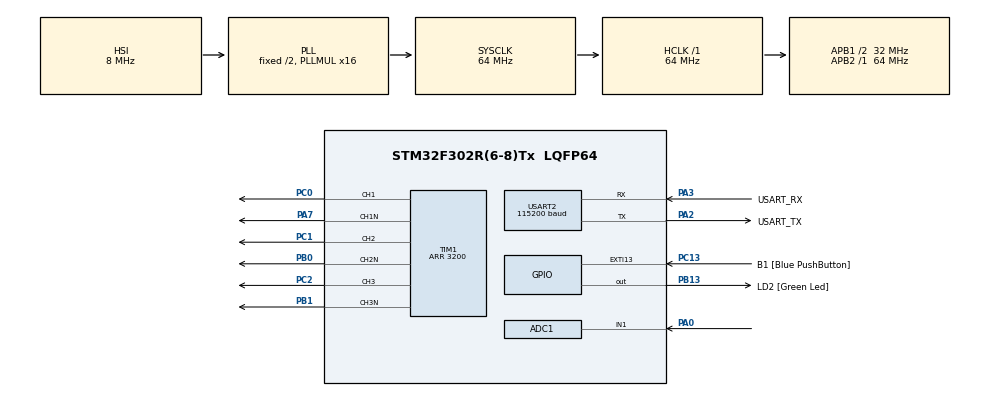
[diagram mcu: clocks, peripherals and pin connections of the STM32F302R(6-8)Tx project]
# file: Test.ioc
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ADC1.Channel-0\#ChannelRegularConversion=ADC_CHANNEL_1
ADC1.ClockPrescaler=ADC_CLOCK_ASYNC_DIV1
ADC1.ContinuousConvMode=ENABLE
ADC1.DMAContinuousRequests=DISABLE
ADC1.DataAlign=ADC_DATAALIGN_RIGHT
ADC1.DiscontinuousConvMode=DISABLE
ADC1.EOCSelection=ADC_EOC_SINGLE_CONV
ADC1.EnableAnalogWatchDog1=false
ADC1.EnableAnalogWatchDog2=false
ADC1.EnableAnalogWatchDog3=false
ADC1.EnableInjectedConversion=ENABLE
ADC1.EnableRegularConversion=ENABLE
ADC1.ExternalTrigConv=ADC_SOFTWARE_START
ADC1.ExternalTrigConvEdge=ADC_EXTERNALTRIGCONVEDGE_NONE
ADC1.InjNumberOfConversion=0
ADC1.LowPowerAutoWait=DISABLE
ADC1.NbrOfConversion=1
ADC1.NbrOfConversionFlag=1
ADC1.Offset-0\#ChannelRegularConversion=0
ADC1.OffsetNumber-0\#ChannelRegularConversion=ADC_OFFSET_NONE
ADC1.Overrun=ADC_OVR_DATA_OVERWRITTEN
ADC1.Rank-0\#ChannelRegularConversion=1
ADC1.Resolution=ADC_RESOLUTION_12B
ADC1.SamplingTime-0\#ChannelRegularConversion=ADC_SAMPLETIME_1CYCLE_5
ADC1.ScanConvMode=ADC_SCAN_DISABLE
ADC1.SubFamily=STM32F302x8
ADC1.master=1
Mcu.Family=STM32F3
Mcu.Name=STM32F302R(6-8)Tx
Mcu.Package=LQFP64
NVIC.PriorityGroup=NVIC_PRIORITYGROUP_0
PA0.Mode=IN1-Single-Ended
PA0.Signal=ADC1_IN1
PA13.GPIO_Label=TMS
PA13.Mode=Trace_Asynchronous_SW
PA13.Signal=SYS_JTMS-SWDIO
PA14.GPIO_Label=TCK
PA14.Mode=Trace_Asynchronous_SW
PA14.Signal=SYS_JTCK-SWCLK
PA2.GPIO_Label=USART_TX
PA2.GPIO_Mode=GPIO_MODE_AF_PP
PA2.GPIO_PuPd=GPIO_NOPULL
PA2.GPIO_Speed=GPIO_SPEED_FREQ_LOW
PA2.Mode=Asynchronous
PA2.Signal=USART2_TX
PA3.GPIO_Label=USART_RX
PA3.GPIO_Mode=GPIO_MODE_AF_PP
PA3.GPIO_PuPd=GPIO_NOPULL
PA3.GPIO_Speed=GPIO_SPEED_FREQ_LOW
PA3.Mode=Asynchronous
PA3.Signal=USART2_RX
PA7.Mode=PWM Generation1 CH1 CH1N
PA7.Signal=TIM1_CH1N
PB0.Mode=PWM Generation2 CH2 CH2N
PB0.Signal=TIM1_CH2N
PB1.Mode=PWM Generation3 CH3 CH3N
PB1.Signal=TIM1_CH3N
PB13.GPIO_Label=LD2 [Green Led]
PB13.Signal=GPIO_Output
PB3.GPIO_Label=SWO
PB3.Mode=Trace_Asynchronous_SW
PB3.Signal=SYS_JTDO-TRACESWO
PC0.Signal=S_TIM1_CH1
PC1.Signal=S_TIM1_CH2
PC13.GPIO_Label=B1 [Blue PushButton]
PC13.GPIO_ModeDefaultEXTI=GPIO_MODE_IT_FALLING
PC13.Signal=GPXTI13
PC14\ -\ OSC32_IN.Signal=RCC_OSC32_IN
PC15\ -\ OSC32_OUT.Signal=RCC_OSC32_OUT
PC2.Signal=S_TIM1_CH3
PF0-OSC_IN.Mode=HSE-External-Clock-Source
PF0-OSC_IN.Signal=RCC_OSC_IN
PF1-OSC_OUT.Signal=RCC_OSC_OUT
ProjectManager.HeapSize=0x200
ProjectManager.StackSize=0x400
ProjectManager.TargetToolchain=SW4STM32
RCC.AHBFreq_Value=64000000
RCC.APB1CLKDivider=RCC_HCLK_DIV2
RCC.APB1Freq_Value=32000000
RCC.APB1TimFreq_Value=64000000
RCC.APB2Freq_Value=64000000
RCC.APB2TimFreq_Value=64000000
RCC.CortexFreq_Value=64000000
RCC.HCLKFreq_Value=64000000
RCC.HSE_VALUE=8000000
RCC.HSI_VALUE=8000000
RCC.LSE_VALUE=32768
RCC.PLLM=8
RCC.PLLMUL=RCC_PLL_MUL16
RCC.PLLN=336
RCC.PLLP=RCC_PLLP_DIV4
RCC.PLLQ=7
RCC.RCC_PLLsource_Clock_Source_FROM_HSE=RCC_HSE_PREDIV_DIV2
RCC.SYSCLKFreq_VALUE=64000000
RCC.SYSCLKSourceVirtual=RCC_SYSCLKSOURCE_PLLCLK
RCC.USBFreq_Value=64000000
SH.S_TIM1_CH1.0=TIM1_CH1,PWM Generation1 CH1 CH1N
SH.S_TIM1_CH2.0=TIM1_CH2,PWM Generation2 CH2 CH2N
SH.S_TIM1_CH3.0=TIM1_CH3,PWM Generation3 CH3 CH3N
TIM1.AutoReloadPreload=TIM_AUTORELOAD_PRELOAD_ENABLE
TIM1.Channel-PWM\ Generation2\ CH2\ CH2N=TIM_CHANNEL_2
TIM1.Channel-PWM\ Generation3\ CH3\ CH3N=TIM_CHANNEL_3
TIM1.CounterMode=TIM_COUNTERMODE_CENTERALIGNED1
TIM1.DeadTime=10
TIM1.OCFastMode_PWM-PWM\ Generation1\ CH1\ CH1N=TIM_OCFAST_ENABLE
TIM1.OCIdleState_1=TIM_OCIDLESTATE_SET
TIM1.OCIdleState_2=TIM_OCIDLESTATE_SET
TIM1.OCIdleState_3=TIM_OCIDLESTATE_SET
TIM1.OCNIdleState_1=TIM_OCNIDLESTATE_SET
TIM1.OCNIdleState_2=TIM_OCNIDLESTATE_SET
TIM1.OCNIdleState_3=TIM_OCNIDLESTATE_SET
TIM1.OCNPolarity_1=TIM_OCNPOLARITY_HIGH
TIM1.Period=3200
TIM1.Pulse-PWM\ Generation1\ CH1\ CH1N=2000
TIM1.Pulse-PWM\ Generation2\ CH2\ CH2N=1500
TIM1.Pulse-PWM\ Generation3\ CH3\ CH3N=400
USART2.BaudRate=115200
USART2.WordLength=UART_WORDLENGTH_8B
VP_TIM1_VS_ClockSourceINT.Mode=Internal
board=NUCLEO-F302R8

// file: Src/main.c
/**
  ******************************************************************************
  * File Name          : main.c
  * Description        : Main program body
  ******************************************************************************
  *
  * COPYRIGHT(c) 2017 STMicroelectronics
  *
  * Redistribution and use in source and binary forms, with or without modification,
  * are permitted provided that the following conditions are met:
  *   1. Redistributions of source code must retain the above copyright notice,
  *      this list of conditions and the following disclaimer.
  *   2. Redistributions in binary form must reproduce the above copyright notice,
  *      this list of conditions and the following disclaimer in the documentation
  *      and/or other materials provided with the distribution.
  *   3. Neither the name of STMicroelectronics nor the names of its contributors
  *      may be used to endorse or promote products derived from this software
  *      without specific prior written permission.
  *
  * THIS SOFTWARE IS PROVIDED BY THE COPYRIGHT HOLDERS AND CONTRIBUTORS "AS IS"
  * AND ANY EXPRESS OR IMPLIED WARRANTIES, INCLUDING, BUT NOT LIMITED TO, THE
  * IMPLIED WARRANTIES OF MERCHANTABILITY AND FITNESS FOR A PARTICULAR PURPOSE ARE
  * DISCLAIMED. IN NO EVENT SHALL THE COPYRIGHT HOLDER OR CONTRIBUTORS BE LIABLE
  * FOR ANY DIRECT, INDIRECT, INCIDENTAL, SPECIAL, EXEMPLARY, OR CONSEQUENTIAL
  * DAMAGES (INCLUDING, BUT NOT LIMITED TO, PROCUREMENT OF SUBSTITUTE GOODS OR
  * SERVICES; LOSS OF USE, DATA, OR PROFITS; OR BUSINESS INTERRUPTION) HOWEVER
  * CAUSED AND ON ANY THEORY OF LIABILITY, WHETHER IN CONTRACT, STRICT LIABILITY,
  * OR TORT (INCLUDING NEGLIGENCE OR OTHERWISE) ARISING IN ANY WAY OUT OF THE USE
  * OF THIS SOFTWARE, EVEN IF ADVISED OF THE POSSIBILITY OF SUCH DAMAGE.
  *
  ******************************************************************************
  */
#include "main.h"
#include "stm32f3xx_hal.h"

#include <math.h>
#include "arm_math.h"

ADC_HandleTypeDef hadc1;

TIM_HandleTypeDef htim1;

UART_HandleTypeDef huart2;

/* USER CODE BEGIN PV */
/* Private variables ---------------------------------------------------------*/
/* ----------------------------------------------------------------------
* Defines each of the tests performed
* ------------------------------------------------------------------- */
#define MAX_BLOCKSIZE   32
#define DELTA           (0.000001f)

/* ----------------------------------------------------------------------
* Declare I/O buffers
* ------------------------------------------------------------------- */
float32_t wire1[MAX_BLOCKSIZE];
float32_t wire2[MAX_BLOCKSIZE];
float32_t wire3[MAX_BLOCKSIZE];

/* ----------------------------------------------------------------------
* Test input data for Floating point Variance example for 32-blockSize
* Generated by the MATLAB randn() function
* ------------------------------------------------------------------- */

float32_t testInput_f32[32] =
{
  -0.432564811528221,  -1.665584378238097,   0.125332306474831,   0.287676420358549,
  -1.146471350681464,   1.190915465642999,   1.189164201652103,  -0.037633276593318,
   0.327292361408654,   0.174639142820925,  -0.186708577681439,   0.725790548293303,
  -0.588316543014189,   2.183185818197101,  -0.136395883086596,   0.113931313520810,
   1.066768211359189,   0.059281460523605,  -0.095648405483669,  -0.832349463650022,
   0.294410816392640,  -1.336181857937804,   0.714324551818952,   1.623562064446271,
  -0.691775701702287,   0.857996672828263,   1.254001421602532,  -1.593729576447477,
  -1.440964431901020,   0.571147623658178,  -0.399885577715363,   0.689997375464345

};

/* ----------------------------------------------------------------------
* Declare Global variables
* ------------------------------------------------------------------- */
uint32_t blockSize = 32;
float32_t  refVarianceOut = 0.903941793931839;

/* USER CODE END PV */

void SystemClock_Config(void);
void Error_Handler(void);
static void MX_GPIO_Init(void);
static void MX_USART2_UART_Init(void);
static void MX_TIM1_Init(void);
static void MX_ADC1_Init(void);

void HAL_TIM_MspPostInit(TIM_HandleTypeDef *htim);

/* USER CODE BEGIN PFP */
/* Private function prototypes -----------------------------------------------*/
static void buffer_append_uint32(uint8_t* buffer, uint32_t number, int32_t *index);
static void buffer_append_uint16(uint8_t* buffer, uint16_t number, int32_t *index);
/* USER CODE END PFP */

int main(void)
{

  /* USER CODE BEGIN 1 */
  uint32_t ADCValue = 0;
  uint8_t send_buffer[10];
  int32_t ind = 0;
  uint32_t width = 0;

  arm_status status;
  float32_t mean, oneByBlockSize;
  float32_t variance;
  float32_t diff;

  /* USER CODE END 1 */

  /* MCU Configuration----------------------------------------------------------*/

  /* Reset of all peripherals, Initializes the Flash interface and the Systick. */
  HAL_Init();

  /* Configure the system clock */
  SystemClock_Config();

  /* Initialize all configured peripherals */
  MX_GPIO_Init();
  MX_USART2_UART_Init();
  MX_TIM1_Init();
  MX_ADC1_Init();

  /* USER CODE BEGIN 2 */
  //HAL_TIM_PWM_Start(&htim1,TIM_CHANNEL_ALL);
   /* Start Timers*/
  if (HAL_TIM_PWM_Start(&htim1, TIM_CHANNEL_1) != HAL_OK)
  {
    /* PWM Generation Error */
    Error_Handler();
  }
    if (HAL_TIMEx_PWMN_Start(&htim1, TIM_CHANNEL_1) != HAL_OK)
  {
    /* PWM Generation Error */
    Error_Handler();
  }

   if (HAL_TIM_PWM_Start(&htim1, TIM_CHANNEL_2) != HAL_OK)
  {
    /* PWM Generation Error */
    Error_Handler();
  }
    if (HAL_TIMEx_PWMN_Start(&htim1, TIM_CHANNEL_2) != HAL_OK)
  {
    /* PWM Generation Error */
    Error_Handler();
  }

   if (HAL_TIM_PWM_Start(&htim1, TIM_CHANNEL_3) != HAL_OK)
  {
    /* PWM Generation Error */
    Error_Handler();
  }
    if (HAL_TIMEx_PWMN_Start(&htim1, TIM_CHANNEL_3) != HAL_OK)
  {
    /* PWM Generation Error */
    Error_Handler();
  }

  //HAL_ADC_Start(&hadc1);

  /* USER CODE END 2 */

  /* Infinite loop */
  while (1)
  {

  /* USER CODE BEGIN 3 */

  HAL_ADC_Start(&hadc1);
  //Read ADC
  if (HAL_ADC_PollForConversion(&hadc1, 1000000) == HAL_OK)
  {
	  ADCValue = HAL_ADC_GetValue(&hadc1);
  }

  //update duty cycle
  __HAL_TIM_SET_COMPARE(&htim1, TIM_CHANNEL_1, width);

  if (width > 3200)
  {
	  width = 0;
  }
  else
  {
	  width++;
  }

  //DSP VARIANCE EXAMPLE F32
  //set LED  HIGH
  HAL_GPIO_WritePin(LD2_GPIO_Port, LD2_Pin, GPIO_PIN_SET);

  status = ARM_MATH_SUCCESS;

  /* Calculation of mean value of input */

  /* x' = 1/blockSize * (x(0)* 1 + x(1) * 1 + ... + x(n-1) * 1) */

  /* Fill wire1 buffer with 1.0 value */
  arm_fill_f32(1.0,  wire1, blockSize);

  /* Calculate the dot product of wire1 and wire2 */
  /* (x(0)* 1 + x(1) * 1 + ...+ x(n-1) * 1) */
  arm_dot_prod_f32(testInput_f32, wire1, blockSize, &mean);

  /* Calculation of 1/blockSize */
  oneByBlockSize = 1.0 / (blockSize);

  /* 1/blockSize * (x(0)* 1 + x(1) * 1 + ... + x(n-1) * 1)  */
  arm_mult_f32(&mean, &oneByBlockSize, &mean, 1);

  /* Calculation of variance value of input */

  /* (1/blockSize) * (x(0) - x') * (x(0) - x') + (x(1) - x') * (x(1) - x') + ... + (x(n-1) - x') * (x(n-1) - x') */

  /* Fill wire2 with mean value x' */
  arm_fill_f32(mean,  wire2, blockSize);

  /* wire3 contains (x-x') */
  arm_sub_f32(testInput_f32, wire2, wire3, blockSize);

  /* wire2 contains (x-x') */
  arm_copy_f32(wire3, wire2, blockSize);

  /* (x(0) - x') * (x(0) - x') + (x(1) - x') * (x(1) - x') + ... + (x(n-1) - x') * (x(n-1) - x') */
  arm_dot_prod_f32(wire2, wire3, blockSize, &variance);

    /* Calculation of 1/blockSize */
  oneByBlockSize = 1.0 / (blockSize - 1);

  /* Calculation of variance */
  arm_mult_f32(&variance, &oneByBlockSize, &variance, 1);

  /* absolute value of difference between ref and test */
  diff = fabsf(refVarianceOut - variance);

  /* Comparison of variance value with reference */
  if(diff > DELTA)
  {
    status = ARM_MATH_TEST_FAILURE;
  }

  if( status != ARM_MATH_SUCCESS)
  {
    while(1);
  }
  //set LED  LOW
  HAL_GPIO_WritePin(LD2_GPIO_Port, LD2_Pin, GPIO_PIN_RESET);

  //Transmit ADC value
  ind = 0;
  buffer_append_uint16(send_buffer, (uint16_t)ADCValue, &ind);
  HAL_UART_Transmit(&huart2, (uint8_t*)send_buffer, sizeof(uint16_t), 0xFFFF);
  HAL_Delay(1);
  /* USER CODE END 3 */

}
}
/** System Clock Configuration
*/
void SystemClock_Config(void)
{

  RCC_OscInitTypeDef RCC_OscInitStruct;
  RCC_ClkInitTypeDef RCC_ClkInitStruct;
  RCC_PeriphCLKInitTypeDef PeriphClkInit;

    /**Initializes the CPU, AHB and APB busses clocks
    */
  RCC_OscInitStruct.OscillatorType = RCC_OSCILLATORTYPE_HSI;
  RCC_OscInitStruct.HSIState = RCC_HSI_ON;
  RCC_OscInitStruct.HSICalibrationValue = 16;
  RCC_OscInitStruct.PLL.PLLState = RCC_PLL_ON;
  RCC_OscInitStruct.PLL.PLLSource = RCC_PLLSOURCE_HSI;
  RCC_OscInitStruct.PLL.PLLMUL = RCC_PLL_MUL16;
  if (HAL_RCC_OscConfig(&RCC_OscInitStruct) != HAL_OK)
  {
    Error_Handler();
  }

    /**Initializes the CPU, AHB and APB busses clocks
    */
  RCC_ClkInitStruct.ClockType = RCC_CLOCKTYPE_HCLK|RCC_CLOCKTYPE_SYSCLK
                              |RCC_CLOCKTYPE_PCLK1|RCC_CLOCKTYPE_PCLK2;
  RCC_ClkInitStruct.SYSCLKSource = RCC_SYSCLKSOURCE_PLLCLK;
  RCC_ClkInitStruct.AHBCLKDivider = RCC_SYSCLK_DIV1;
  RCC_ClkInitStruct.APB1CLKDivider = RCC_HCLK_DIV2;
  RCC_ClkInitStruct.APB2CLKDivider = RCC_HCLK_DIV1;

  if (HAL_RCC_ClockConfig(&RCC_ClkInitStruct, FLASH_LATENCY_2) != HAL_OK)
  {
    Error_Handler();
  }

  PeriphClkInit.PeriphClockSelection = RCC_PERIPHCLK_TIM1|RCC_PERIPHCLK_ADC1;
  PeriphClkInit.Tim1ClockSelection = RCC_TIM1CLK_HCLK;
  PeriphClkInit.Adc1ClockSelection = RCC_ADC1PLLCLK_DIV1;

  if (HAL_RCCEx_PeriphCLKConfig(&PeriphClkInit) != HAL_OK)
  {
    Error_Handler();
  }

    /**Configure the Systick interrupt time
    */
  HAL_SYSTICK_Config(HAL_RCC_GetHCLKFreq()/1000);

    /**Configure the Systick
    */
  HAL_SYSTICK_CLKSourceConfig(SYSTICK_CLKSOURCE_HCLK);

  /* SysTick_IRQn interrupt configuration */
  HAL_NVIC_SetPriority(SysTick_IRQn, 0, 0);
}

/* ADC1 init function */
static void MX_ADC1_Init(void)
{

  ADC_ChannelConfTypeDef sConfig;

    /**Common config
    */
  hadc1.Instance = ADC1;
  hadc1.Init.ClockPrescaler = ADC_CLOCK_ASYNC_DIV1;
  hadc1.Init.Resolution = ADC_RESOLUTION_12B;
  hadc1.Init.ScanConvMode = ADC_SCAN_DISABLE;
  hadc1.Init.ContinuousConvMode = DISABLE;
  hadc1.Init.DiscontinuousConvMode = DISABLE;
  hadc1.Init.ExternalTrigConvEdge = ADC_EXTERNALTRIGCONVEDGE_NONE;
  hadc1.Init.ExternalTrigConv = ADC_SOFTWARE_START;
  hadc1.Init.DataAlign = ADC_DATAALIGN_RIGHT;
  hadc1.Init.NbrOfConversion = 1;
  hadc1.Init.DMAContinuousRequests = DISABLE;
  hadc1.Init.EOCSelection = ADC_EOC_SINGLE_CONV;
  hadc1.Init.LowPowerAutoWait = DISABLE;
  hadc1.Init.Overrun = ADC_OVR_DATA_OVERWRITTEN;
  if (HAL_ADC_Init(&hadc1) != HAL_OK)
  {
    Error_Handler();
  }

    /**Configure Regular Channel
    */
  sConfig.Channel = ADC_CHANNEL_1;
  sConfig.Rank = 1;
  sConfig.SingleDiff = ADC_SINGLE_ENDED;
  //sConfig.SamplingTime = ADC_SAMPLETIME_1CYCLE_5;
  sConfig.SamplingTime = ADC_SAMPLETIME_601CYCLES_5;
  sConfig.OffsetNumber = ADC_OFFSET_NONE;
  sConfig.Offset = 0;
  if (HAL_ADC_ConfigChannel(&hadc1, &sConfig) != HAL_OK)
  {
    Error_Handler();
  }

}

/* TIM1 init function */
static void MX_TIM1_Init(void)
{

  TIM_ClockConfigTypeDef sClockSourceConfig;
  TIM_MasterConfigTypeDef sMasterConfig;
  TIM_OC_InitTypeDef sConfigOC;
  TIM_BreakDeadTimeConfigTypeDef sBreakDeadTimeConfig;

  htim1.Instance = TIM1;
  htim1.Init.Prescaler = 0;
  htim1.Init.CounterMode = TIM_COUNTERMODE_CENTERALIGNED1;
  htim1.Init.Period = 3200;
  htim1.Init.ClockDivision = TIM_CLOCKDIVISION_DIV1;
  htim1.Init.RepetitionCounter = 0;
  htim1.Init.AutoReloadPreload = TIM_AUTORELOAD_PRELOAD_ENABLE;
  if (HAL_TIM_Base_Init(&htim1) != HAL_OK)
  {
    Error_Handler();
  }

  sClockSourceConfig.ClockSource = TIM_CLOCKSOURCE_INTERNAL;
  if (HAL_TIM_ConfigClockSource(&htim1, &sClockSourceConfig) != HAL_OK)
  {
    Error_Handler();
  }

  if (HAL_TIM_PWM_Init(&htim1) != HAL_OK)
  {
    Error_Handler();
  }

  sMasterConfig.MasterOutputTrigger = TIM_TRGO_RESET;
  sMasterConfig.MasterOutputTrigger2 = TIM_TRGO2_RESET;
  sMasterConfig.MasterSlaveMode = TIM_MASTERSLAVEMODE_DISABLE;
  if (HAL_TIMEx_MasterConfigSynchronization(&htim1, &sMasterConfig) != HAL_OK)
  {
    Error_Handler();
  }

  sConfigOC.OCMode = TIM_OCMODE_PWM1;
  sConfigOC.Pulse = 2000;
  sConfigOC.OCPolarity = TIM_OCPOLARITY_HIGH;
  sConfigOC.OCNPolarity = TIM_OCNPOLARITY_HIGH;
  sConfigOC.OCFastMode = TIM_OCFAST_ENABLE;
  sConfigOC.OCIdleState = TIM_OCIDLESTATE_SET;
  sConfigOC.OCNIdleState = TIM_OCNIDLESTATE_SET;
  if (HAL_TIM_PWM_ConfigChannel(&htim1, &sConfigOC, TIM_CHANNEL_1) != HAL_OK)
  {
    Error_Handler();
  }

  sConfigOC.Pulse = 1500;
  sConfigOC.OCFastMode = TIM_OCFAST_DISABLE;
  if (HAL_TIM_PWM_ConfigChannel(&htim1, &sConfigOC, TIM_CHANNEL_2) != HAL_OK)
  {
    Error_Handler();
  }

  sConfigOC.Pulse = 400;
  if (HAL_TIM_PWM_ConfigChannel(&htim1, &sConfigOC, TIM_CHANNEL_3) != HAL_OK)
  {
    Error_Handler();
  }

  sBreakDeadTimeConfig.OffStateRunMode = TIM_OSSR_DISABLE;
  sBreakDeadTimeConfig.OffStateIDLEMode = TIM_OSSI_DISABLE;
  sBreakDeadTimeConfig.LockLevel = TIM_LOCKLEVEL_OFF;
  sBreakDeadTimeConfig.DeadTime = 10;
  sBreakDeadTimeConfig.BreakState = TIM_BREAK_DISABLE;
  sBreakDeadTimeConfig.BreakPolarity = TIM_BREAKPOLARITY_HIGH;
  sBreakDeadTimeConfig.BreakFilter = 0;
  sBreakDeadTimeConfig.Break2State = TIM_BREAK2_DISABLE;
  sBreakDeadTimeConfig.Break2Polarity = TIM_BREAK2POLARITY_HIGH;
  sBreakDeadTimeConfig.Break2Filter = 0;
  sBreakDeadTimeConfig.AutomaticOutput = TIM_AUTOMATICOUTPUT_DISABLE;
  if (HAL_TIMEx_ConfigBreakDeadTime(&htim1, &sBreakDeadTimeConfig) != HAL_OK)
  {
    Error_Handler();
  }

  HAL_TIM_MspPostInit(&htim1);

}

/* USART2 init function */
static void MX_USART2_UART_Init(void)
{

  huart2.Instance = USART2;
  huart2.Init.BaudRate = 115200;
  huart2.Init.WordLength = UART_WORDLENGTH_8B;
  huart2.Init.StopBits = UART_STOPBITS_1;
  huart2.Init.Parity = UART_PARITY_NONE;
  huart2.Init.Mode = UART_MODE_TX_RX;
  huart2.Init.HwFlowCtl = UART_HWCONTROL_NONE;
  huart2.Init.OverSampling = UART_OVERSAMPLING_16;
  huart2.Init.OneBitSampling = UART_ONE_BIT_SAMPLE_DISABLE;
  huart2.AdvancedInit.AdvFeatureInit = UART_ADVFEATURE_NO_INIT;
  if (HAL_UART_Init(&huart2) != HAL_OK)
  {
    Error_Handler();
  }

}

/** Configure pins as
        * Analog
        * Input
        * Output
        * EVENT_OUT
        * EXTI
*/
static void MX_GPIO_Init(void)
{

  GPIO_InitTypeDef GPIO_InitStruct;

  /* GPIO Ports Clock Enable */
  __HAL_RCC_GPIOC_CLK_ENABLE();
  __HAL_RCC_GPIOF_CLK_ENABLE();
  __HAL_RCC_GPIOA_CLK_ENABLE();
  __HAL_RCC_GPIOB_CLK_ENABLE();

  /*Configure GPIO pin Output Level */
  HAL_GPIO_WritePin(LD2_GPIO_Port, LD2_Pin, GPIO_PIN_RESET);

  /*Configure GPIO pin : B1_Pin */
  GPIO_InitStruct.Pin = B1_Pin;
  GPIO_InitStruct.Mode = GPIO_MODE_IT_FALLING;
  GPIO_InitStruct.Pull = GPIO_NOPULL;
  HAL_GPIO_Init(B1_GPIO_Port, &GPIO_InitStruct);

  /*Configure GPIO pin : LD2_Pin */
  GPIO_InitStruct.Pin = LD2_Pin;
  GPIO_InitStruct.Mode = GPIO_MODE_OUTPUT_PP;
  GPIO_InitStruct.Pull = GPIO_NOPULL;
  GPIO_InitStruct.Speed = GPIO_SPEED_FREQ_LOW;
  HAL_GPIO_Init(LD2_GPIO_Port, &GPIO_InitStruct);

}

/* USER CODE BEGIN 4 */
static void buffer_append_uint32(uint8_t* buffer, uint32_t number, int32_t *index) {
	buffer[(*index)++] = number >> 24;
	buffer[(*index)++] = number >> 16;
	buffer[(*index)++] = number >> 8;
	buffer[(*index)++] = number;
}

static void buffer_append_uint16(uint8_t* buffer, uint16_t number, int32_t *index) {
	buffer[(*index)++] = number >> 8;
	buffer[(*index)++] = number;
}

/* USER CODE END 4 */

void Error_Handler(void)
{
  while(1)
  {
  }
}

/************************ (C) COPYRIGHT STMicroelectronics *****END OF FILE****/
